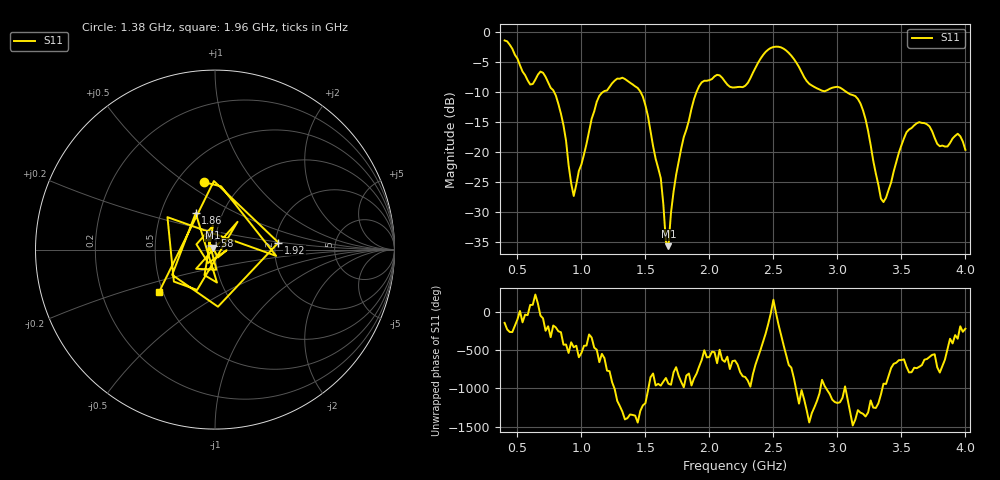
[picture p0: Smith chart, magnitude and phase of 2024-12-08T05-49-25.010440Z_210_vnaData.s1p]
!Created with skrf (http://scikit-rf.org).
# Hz S RI R 50.0
!freq ReS11 ImS11
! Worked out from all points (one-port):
!   181 points, 400 MHz to 4 GHz, reference 50 ohm
!   lowest |S11| = -35.7 dB at 1.68 GHz (marker M1), VSWR 1.03, Z = 48.7 + j1.01 ohm
!   |S11| at or under -10 dB: 787.4 MHz to 1.167 GHz (379.8 MHz wide, 38.9 % of centre); 1.463 GHz to 1.899 GHz (436.2 MHz wide, 25.9 % of centre); 3.073 GHz to end of sweep
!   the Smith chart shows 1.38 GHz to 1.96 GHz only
!   S11 on the Smith chart (normalised r, x): 1.38 GHz: 0.67, +0.59; 1.58 GHz: 0.91, +0.14; 1.86 GHz: 0.75, +0.32; 1.92 GHz: 2.08, +0.19; 1.96 GHz: 0.47, -0.27
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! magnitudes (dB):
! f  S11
! 400 MHz  -1.4
! 600 MHz  -8.7
! 700 MHz  -6.8
! 860 MHz  -15.5
! 940 MHz  -27.3
! 1.12 GHz  -11.6
! 1.3 GHz  -7.8
! 1.38 GHz  -8.4
! 1.48 GHz  -10.7
! 1.58 GHz  -21.1
! 1.62 GHz  -24.3
! 1.66 GHz  -34.9
! 1.68 GHz  -35.7
! 1.76 GHz  -21.6
! 1.86 GHz  -12.8
! 1.92 GHz  -9.0
! 1.96 GHz  -8.1
! 2.2 GHz  -9.2
! 2.48 GHz  -2.6
! 2.66 GHz  -4.5
! 2.8 GHz  -8.9
! 3.1 GHz  -10.4
! 3.2 GHz  -13.0
! 3.36 GHz  -28.3
! 3.56 GHz  -16.2
! 3.8 GHz  -19.0
! 3.94 GHz  -16.9
! 4 GHz  -19.6
